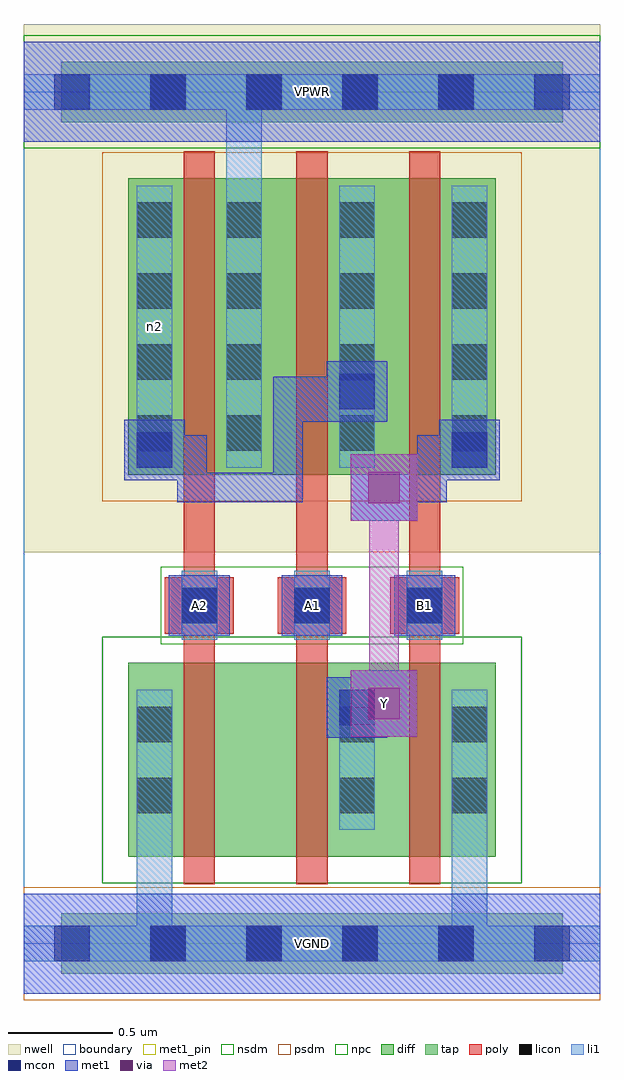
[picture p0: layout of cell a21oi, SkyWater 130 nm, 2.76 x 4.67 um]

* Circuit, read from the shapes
.subckt a21oi A1 A2 B1 VGND VPWR Y n2
XM1 n1 A2 VGND VGND sky130_fd_pr__nfet_01v8 w=0.93 l=0.15
XM2 Y A1 n1 VGND sky130_fd_pr__nfet_01v8 w=0.93 l=0.15
XM3 VGND B1 Y VGND sky130_fd_pr__nfet_01v8 w=0.93 l=0.15
XM4 VPWR A2 n2 VPWR sky130_fd_pr__pfet_01v8 w=1.42 l=0.15
XM5 n2 A1 VPWR VPWR sky130_fd_pr__pfet_01v8 w=1.42 l=0.15
XM6 Y B1 n2 VPWR sky130_fd_pr__pfet_01v8 w=1.42 l=0.15
.ends

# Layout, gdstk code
import gdstk
lib = gdstk.Library(unit=1e-6, precision=1e-09)
def R(c, l, rs):  # rectangles x0, y0, x1, y1
    for r in rs: c.add(gdstk.rectangle(r[:2], r[2:], *l))
def A(c, l, x, y, w, h, nx, ny, dx, dy):  # array of equal rectangles
    R(c, l, [(x+i*dx, y+j*dy, x+i*dx+w, y+j*dy+h) for i in range(nx) for j in range(ny)])
nwell = (64, 20)
diff = (65, 20)
tap = (65, 44)
poly = (66, 20)
licon = (66, 44)
li1 = (67, 20)
mcon = (67, 44)
met1_pin = (68, 16)
met1 = (68, 20)
via = (68, 44)
met2 = (69, 20)
nsdm = (93, 44)
psdm = (94, 20)
npc = (95, 20)
boundary = (235, 4)

a21oi = lib.new_cell('a21oi')
R(a21oi, nwell, [(0,1.875,2.76,4.405)])
R(a21oi, diff, [(0.5,0.415,2.26,1.345), (0.5,2.245,2.26,3.665)])
R(a21oi, tap, [(0.18,-0.145,2.58,0.145), (0.18,3.935,2.58,4.225)])
A(a21oi, poly, 0.765, 0.285, 0.15, 3.51, 3, 1, 0.54, 0)
A(a21oi, poly, 0.675, 1.485, 0.33, 0.27, 3, 1, 0.54, 0)
A(a21oi, licon, 0.605, -0.085, 0.17, 0.17, 4, 2, 0.46, 4.08)
A(a21oi, licon, 0.755, 1.535, 0.17, 0.17, 3, 1, 0.54, 0)
A(a21oi, licon, 0.54, 2.36, 0.17, 0.17, 1, 4, 0, 0.34)
A(a21oi, licon, 0.97, 2.36, 0.17, 0.17, 3, 4, 0.54, 0.34)
R(a21oi, licon, [(0.54,0.625,0.71,0.795), (1.51,0.625,1.68,0.795), (2.05,0.625,2.22,0.795), (0.54,0.965,0.71,1.135), (1.51,0.965,1.68,1.135), (2.05,0.965,2.22,1.135)])
A(a21oi, li1, 0.755, 1.455, 0.17, 0.33, 3, 1, 0.54, 0)
A(a21oi, li1, 0.97, 2.28, 0.17, 1.35, 3, 1, 0.54, 0)
R(a21oi, li1, [(0,-0.085,2.76,0.085), (0.54,-0.085,0.71,1.215), (2.05,-0.085,2.22,1.215), (0.54,0.545,0.71,1.215), (1.51,0.545,1.68,1.215), (2.05,0.545,2.22,1.215), (0.54,2.28,0.71,3.63), (0.97,2.28,1.14,4.165), (0,3.995,2.76,4.165)])
A(a21oi, mcon, 0.145, -0.085, 0.17, 0.17, 6, 2, 0.46, 4.08)
A(a21oi, mcon, 0.755, 1.535, 0.17, 0.17, 3, 1, 0.54, 0)
R(a21oi, mcon, [(1.51,1.045,1.68,1.215), (0.54,2.28,0.71,2.45), (2.05,2.28,2.22,2.45), (1.51,2.56,1.68,2.73)])
A(a21oi, met1_pin, 0.695, 1.475, 0.29, 0.29, 3, 1, 0.54, 0)
R(a21oi, met1_pin, [(0,-0.24,2.76,0.24), (1.565,0.99,1.885,1.31), (0,3.84,2.76,4.32)])
A(a21oi, met1, 0.695, 1.475, 0.29, 0.29, 3, 1, 0.54, 0)
R(a21oi, met1, [(0,-0.24,2.76,0.24), (1.45,0.985,1.74,1.275), (1.565,0.99,1.885,1.31), (1.525,1.06,1.795,1.2), (1.655,1.06,1.795,1.22), (1.565,2.025,1.885,2.345), (0.735,2.115,0.875,2.435), (0.735,2.115,1.335,2.255), (1.195,2.115,1.335,2.715), (1.655,2.115,2.025,2.255), (1.885,2.115,2.025,2.435), (0.48,2.22,0.77,2.51), (1.99,2.22,2.28,2.51), (0.555,2.295,0.875,2.435), (1.885,2.295,2.205,2.435), (1.335,2.5,1.45,2.715), (1.45,2.5,1.74,2.79), (1.195,2.575,1.565,2.715), (1.425,2.575,1.665,2.715), (0,3.84,2.76,4.32)])
R(a21oi, via, [(1.65,1.075,1.8,1.225), (1.65,2.11,1.8,2.26)])
R(a21oi, met2, [(1.565,0.99,1.885,1.31), (1.655,1.08,1.795,2.255), (1.565,2.025,1.885,2.345)])
R(a21oi, nsdm, [(0.375,0.29,2.385,1.47), (0,3.81,2.76,4.35)])
R(a21oi, psdm, [(0,-0.27,2.76,0.27), (0.375,2.12,2.385,3.79)])
R(a21oi, npc, [(0.655,1.435,2.105,1.805)])
R(a21oi, boundary, [(0,0,2.76,4.08)])
a21oi.add(gdstk.Label('n2', (0.625,2.955), layer=67, texttype=5))
a21oi.add(gdstk.Label('A1', (1.38,1.62), layer=68, texttype=5))
a21oi.add(gdstk.Label('A2', (0.84,1.62), layer=68, texttype=5))
a21oi.add(gdstk.Label('B1', (1.92,1.62), layer=68, texttype=5))
a21oi.add(gdstk.Label('Y', (1.725,1.15), layer=68, texttype=5))
a21oi.add(gdstk.Label('VPWR', (1.38,4.08), layer=68, texttype=5))
a21oi.add(gdstk.Label('VGND', (1.38,0), layer=68, texttype=5))
a21oi.add(gdstk.Label('A1', (1.38,1.62), layer=68, texttype=16))
a21oi.add(gdstk.Label('A2', (0.84,1.62), layer=68, texttype=16))
a21oi.add(gdstk.Label('B1', (1.92,1.62), layer=68, texttype=16))
a21oi.add(gdstk.Label('Y', (1.725,1.15), layer=68, texttype=16))
a21oi.add(gdstk.Label('VPWR', (1.38,4.08), layer=68, texttype=16))
a21oi.add(gdstk.Label('VGND', (1.38,0), layer=68, texttype=16))

lib.write_gds('a21oi.gds')
